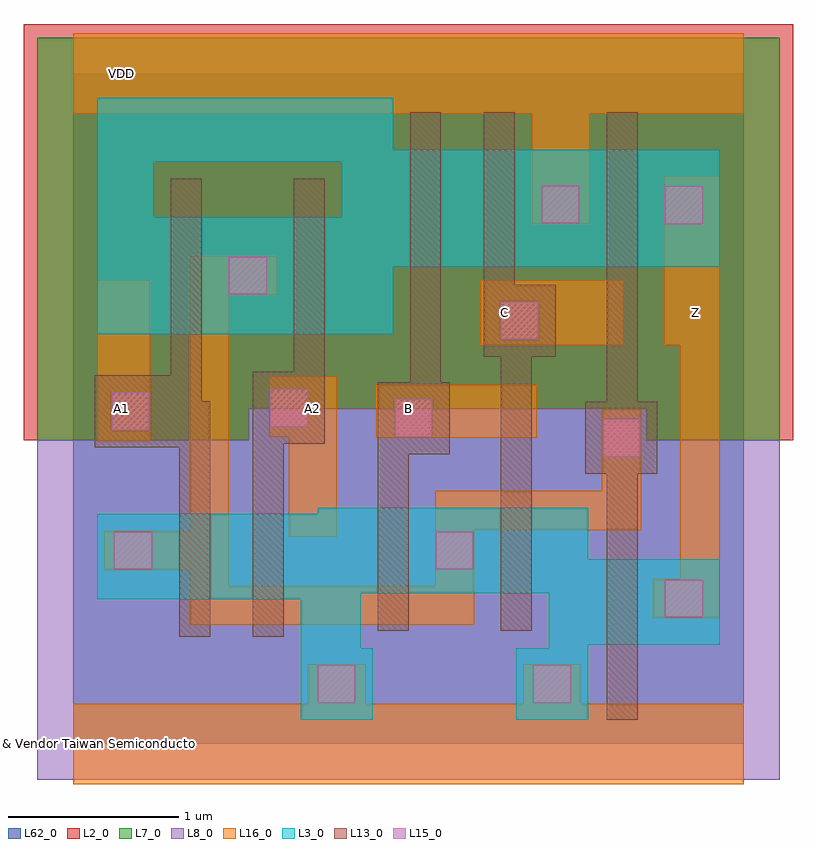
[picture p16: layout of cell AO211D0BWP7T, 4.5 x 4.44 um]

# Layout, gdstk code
import gdstk
lib = gdstk.Library(unit=1e-6, precision=1e-09)
def R(c, l, rs):  # rectangles x0, y0, x1, y1
    for r in rs: c.add(gdstk.rectangle(r[:2], r[2:], *l))
def P(c, l, *ps):  # polygons
    for p in ps: c.add(gdstk.Polygon(p, *l))
L2_0 = (2, 0)
L3_0 = (3, 0)
L7_0 = (7, 0)
L8_0 = (8, 0)
L13_0 = (13, 0)
L15_0 = (15, 0)
L16_0 = (16, 0)
L62_0 = (62, 0)

ao211d0bwp7t = lib.new_cell('AO211D0BWP7T')
P(ao211d0bwp7t, L2_0, [(-0.29,1.775),(-0.29,4.21),(4.21,4.21),(4.21,1.775),(3.35,1.775),(3.35,1.96),(1.025,1.96),(1.025,1.775)])
P(ao211d0bwp7t, L3_0, [(1.33,0.14),(1.33,0.845),(0.14,0.845),(0.14,1.345),(1.43,1.345),(1.43,1.38),(3.01,1.38),(3.01,1.08),(3.78,1.08),(3.78,0.58),(3.01,0.58),(3.01,0.14),(2.59,0.14),(2.59,0.56),(2.78,0.56),(2.78,0.88),(1.68,0.88),(1.68,0.56),(1.75,0.56),(1.75,0.14)],
  [(0.14,2.395),(0.14,3.78),(1.87,3.78),(1.87,3.475),(3.78,3.475),(3.78,3.225),(1.57,3.225),(1.57,3.405),(0.47,3.405),(0.47,3.08),(1.57,3.08),(1.57,3.225),(3.78,3.225),(3.78,2.79),(1.87,2.79),(1.87,2.395)])
P(ao211d0bwp7t, L7_0, [(-0.21,1.775),(-0.21,4.13),(4.13,4.13),(4.13,1.775),(3.35,1.775),(3.35,1.96),(1.025,1.96),(1.025,1.775)])
P(ao211d0bwp7t, L8_0, [(-0.21,-0.21),(-0.21,1.775),(1.025,1.775),(1.025,1.96),(3.35,1.96),(3.35,1.775),(4.13,1.775),(4.13,-0.21)])
P(ao211d0bwp7t, L13_0, [(0.62,0.625),(0.62,1.735),(0.125,1.735),(0.125,2.155),(0.57,2.155),(0.57,3.305),(0.75,3.305),(0.75,2.005),(0.8,2.005),(0.8,0.625)],
  [(1.78,0.66),(1.78,2.115),(1.97,2.115),(1.97,3.695),(2.15,3.695),(2.15,2.115),(2.2,2.115),(2.2,1.695),(1.96,1.695),(1.96,0.66)],
  [(2.5,0.66),(2.5,2.265),(2.4,2.265),(2.4,3.695),(2.58,3.695),(2.58,2.685),(2.82,2.685),(2.82,2.265),(2.68,2.265),(2.68,0.66)],
  [(1.05,0.625),(1.05,2.175),(1.29,2.175),(1.29,3.305),(1.47,3.305),(1.47,1.755),(1.23,1.755),(1.23,0.625)],
  [(3.12,0.14),(3.12,1.58),(2.995,1.58),(2.995,2),(3.12,2),(3.12,3.695),(3.3,3.695),(3.3,2),(3.415,2),(3.415,1.58),(3.3,1.58),(3.3,0.14)])
R(ao211d0bwp7t, L15_0, [(1.43,0.24,1.65,0.46), (2.69,0.24,2.91,0.46), (3.46,0.74,3.68,0.96), (0.24,1.02,0.46,1.24), (2.12,1.02,2.34,1.24), (3.095,1.68,3.315,1.9), (1.88,1.795,2.1,2.015), (0.225,1.835,0.445,2.055), (1.15,1.855,1.37,2.075), (2.5,2.365,2.72,2.585), (0.91,2.63,1.13,2.85), (3.46,3.04,3.68,3.26), (2.74,3.045,2.96,3.265)])
R(ao211d0bwp7t, L16_0, [(0.14,1.77,0.45,2.71), (1.77,1.79,2.71,2.1), (2.38,2.33,3.22,2.71)])
P(ao211d0bwp7t, L16_0, [(0,-0.235),(0,0.235),(1.37,0.235),(1.37,0.465),(1.71,0.465),(1.71,0.235),(2.63,0.235),(2.63,0.465),(2.97,0.465),(2.97,0.235),(3.92,0.235),(3.92,-0.235)],
  [(1.26,1.21),(1.26,1.795),(1.145,1.795),(1.145,2.15),(1.54,2.15),(1.54,1.21)],
  [(2.68,3.04),(2.68,3.685),(0,3.685),(0,4.155),(3.92,4.155),(3.92,3.685),(3.02,3.685),(3.02,3.04)],
  [(3.39,0.735),(3.39,0.965),(3.55,0.965),(3.55,2.33),(3.455,2.33),(3.455,3.32),(3.78,3.32),(3.78,0.735)],
  [(0.68,0.695),(0.68,1.015),(0.18,1.015),(0.18,1.245),(0.68,1.245),(0.68,2.855),(1.19,2.855),(1.19,2.625),(0.91,2.625),(0.91,0.925),(2.115,0.925),(2.115,1.48),(3.09,1.48),(3.09,1.96),(3.32,1.96),(3.32,1.25),(2.345,1.25),(2.345,0.695)])
R(ao211d0bwp7t, L62_0, [(0,0,3.92,3.92)])
ao211d0bwp7t.add(gdstk.Label('& Vendor Taiwan Semiconductor Manufacturing Corp.', (0,0), layer=63, texttype=63))
ao211d0bwp7t.add(gdstk.Label('& Product tcb018gbwp7t', (0,0), layer=63, texttype=63))
ao211d0bwp7t.add(gdstk.Label('& Version 270a', (0,0), layer=63, texttype=63))
ao211d0bwp7t.add(gdstk.Label('& Metric 15.366', (0,0), layer=63, texttype=63))
ao211d0bwp7t.add(gdstk.Label('& Distributor TSMC', (0,0), layer=63, texttype=63))
ao211d0bwp7t.add(gdstk.Label('& SerialNumber 000000', (0,0), layer=63, texttype=63))
ao211d0bwp7t.add(gdstk.Label('& _Instance_tag AO211D0BWP7T', (0,0), layer=63, texttype=63))
ao211d0bwp7t.add(gdstk.Label('& Vendor Taiwan Semiconductor Manufacturing Corp.', (0,0), layer=11, texttype=0))
ao211d0bwp7t.add(gdstk.Label('& Product tcb018gbwp7t', (0,0), layer=11, texttype=0))
ao211d0bwp7t.add(gdstk.Label('& Version 270a', (0,0), layer=11, texttype=0))
ao211d0bwp7t.add(gdstk.Label('& Metric 15.366', (0,0), layer=11, texttype=0))
ao211d0bwp7t.add(gdstk.Label('& Distributor TSMC', (0,0), layer=11, texttype=0))
ao211d0bwp7t.add(gdstk.Label('& SerialNumber 000000', (0,0), layer=11, texttype=0))
ao211d0bwp7t.add(gdstk.Label('& _Instance_tag AO211D0BWP7T', (0,0), layer=11, texttype=0))
ao211d0bwp7t.add(gdstk.Label('AO211D0BWP7T', (0,0), layer=59, texttype=0))
ao211d0bwp7t.add(gdstk.Label('Z', (3.64,2.52), layer=40, texttype=0))
ao211d0bwp7t.add(gdstk.Label('C', (2.52,2.52), layer=40, texttype=0))
ao211d0bwp7t.add(gdstk.Label('B', (1.96,1.96), layer=40, texttype=0))
ao211d0bwp7t.add(gdstk.Label('A2', (1.4,1.96), layer=40, texttype=0))
ao211d0bwp7t.add(gdstk.Label('VDD', (0.28,3.92), layer=40, texttype=0))
ao211d0bwp7t.add(gdstk.Label('A1', (0.28,1.96), layer=40, texttype=0))
ao211d0bwp7t.add(gdstk.Label('VSS', (0.28,0), layer=40, texttype=0))

lib.write_gds('AO211D0BWP7T.gds')
